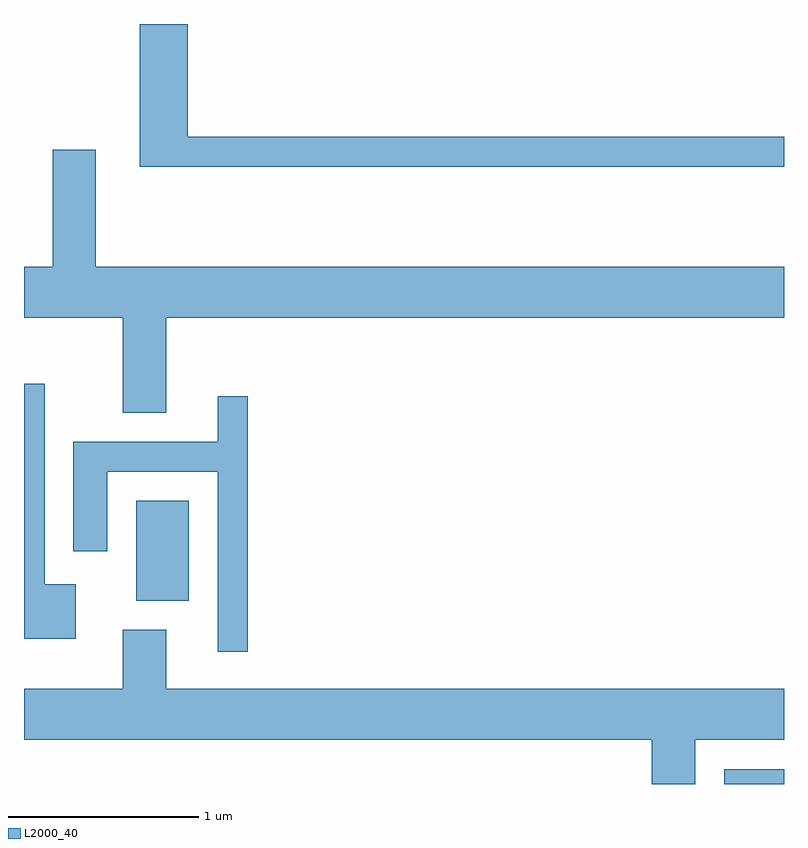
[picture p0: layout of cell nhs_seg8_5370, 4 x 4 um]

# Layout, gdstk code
import gdstk
lib = gdstk.Library(unit=1e-6, precision=1e-09)
def R(c, l, rs):  # rectangles x0, y0, x1, y1
    for r in rs: c.add(gdstk.rectangle(r[:2], r[2:], *l))
def P(c, l, *ps):  # polygons
    for p in ps: c.add(gdstk.Polygon(p, *l))
L2000_40 = (2000, 40)

nhs_seg8_5370 = lib.new_cell('nhs_seg8_5370')
R(nhs_seg8_5370, L2000_40, [(349.296,1898.342,349.611,1898.419), (346.201,1899.306,346.479,1899.834)])
P(nhs_seg8_5370, L2000_40, [(349.611,1901.749),(346.474,1901.749),(346.474,1902.342),(346.221,1902.342),(346.221,1901.591),(349.611,1901.591)],
  [(346.359,1900.796),(349.611,1900.796),(349.611,1901.064),(345.989,1901.064),(345.989,1901.679),(345.761,1901.679),(345.761,1901.064),(345.611,1901.064),(345.611,1900.796),(346.131,1900.796),(346.131,1900.296),(346.359,1900.296)],
  [(345.884,1899.394),(345.719,1899.394),(345.719,1900.449),(345.611,1900.449),(345.611,1899.106),(345.884,1899.106)],
  [(346.789,1900.383),(346.631,1900.383),(346.631,1900.144),(345.871,1900.144),(345.871,1899.566),(346.049,1899.566),(346.049,1899.986),(346.631,1899.986),(346.631,1899.038),(346.789,1899.038)],
  [(349.144,1898.576),(349.611,1898.576),(349.611,1898.844),(346.359,1898.844),(346.359,1899.154),(346.131,1899.154),(346.131,1898.844),(345.611,1898.844),(345.611,1898.576),(348.916,1898.576),(348.916,1898.342),(349.144,1898.342)])

lib.write_gds('nhs_seg8_5370.gds')
